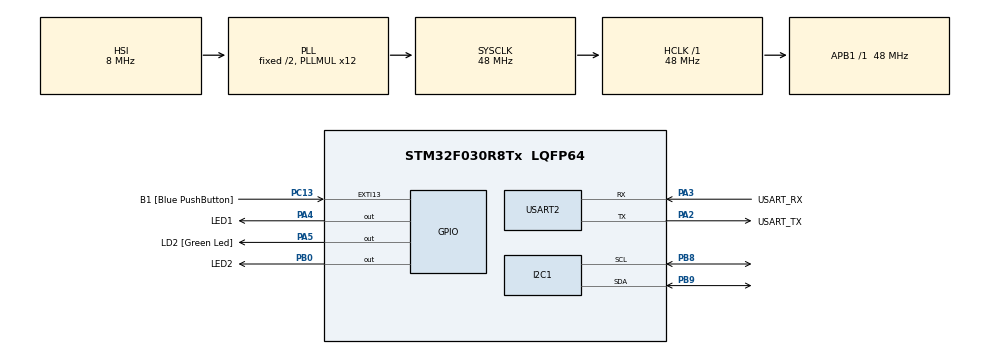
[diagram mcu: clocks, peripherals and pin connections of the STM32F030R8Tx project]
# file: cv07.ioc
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FREERTOS.Queues01=xVisualQueue,16,int16_t,0,Dynamic,NULL,NULL
FREERTOS.Tasks01=defaultTask,0,128,StartDefaultTask,Default,NULL,Dynamic,NULL,NULL;VisualTask,0,128,StartVisualTask,Default,NULL,Dynamic,NULL,NULL;AcceleroTask,0,128,StartAcceleroTask,Default,NULL,Dynamic,NULL,NULL
Mcu.Family=STM32F0
Mcu.Name=STM32F030R8Tx
Mcu.Package=LQFP64
NVIC.TIM1_BRK_UP_TRG_COM_IRQn=true\:0\:0\:false\:false\:true\:false\:false\:true
NVIC.TimeBase=TIM1_BRK_UP_TRG_COM_IRQn
NVIC.TimeBaseIP=TIM1
PA13.GPIO_Label=TMS
PA13.Mode=Serial_Wire
PA13.Signal=SYS_SWDIO
PA14.GPIO_Label=TCK
PA14.Mode=Serial_Wire
PA14.Signal=SYS_SWCLK
PA2.GPIO_Label=USART_TX
PA2.GPIO_Mode=GPIO_MODE_AF_PP
PA2.GPIO_PuPd=GPIO_NOPULL
PA2.GPIO_Speed=GPIO_SPEED_FREQ_LOW
PA2.Mode=Asynchronous
PA2.Signal=USART2_TX
PA3.GPIO_Label=USART_RX
PA3.GPIO_Mode=GPIO_MODE_AF_PP
PA3.GPIO_PuPd=GPIO_NOPULL
PA3.GPIO_Speed=GPIO_SPEED_FREQ_LOW
PA3.Mode=Asynchronous
PA3.Signal=USART2_RX
PA4.GPIO_Label=LED1
PA4.Signal=GPIO_Output
PA5.GPIO_Label=LD2 [Green Led]
PA5.GPIO_Mode=GPIO_MODE_OUTPUT_PP
PA5.GPIO_PuPd=GPIO_NOPULL
PA5.GPIO_Speed=GPIO_SPEED_FREQ_LOW
PA5.Signal=GPIO_Output
PB0.GPIO_Label=LED2
PB0.Signal=GPIO_Output
PB8.Mode=I2C
PB8.Signal=I2C1_SCL
PB9.Mode=I2C
PB9.Signal=I2C1_SDA
PC13.GPIO_Label=B1 [Blue PushButton]
PC13.GPIO_ModeDefaultEXTI=GPIO_MODE_IT_FALLING
PC13.Signal=GPXTI13
PC14-OSC32_IN.Mode=LSE-External-Oscillator
PC14-OSC32_IN.Signal=RCC_OSC32_IN
PC15-OSC32_OUT.Mode=LSE-External-Oscillator
PC15-OSC32_OUT.Signal=RCC_OSC32_OUT
PF0-OSC_IN.Mode=HSE-External-Clock-Source
PF0-OSC_IN.Signal=RCC_OSC_IN
PF1-OSC_OUT.Signal=RCC_OSC_OUT
ProjectManager.HeapSize=0x200
ProjectManager.StackSize=0x400
ProjectManager.TargetToolchain=STM32CubeIDE
RCC.AHBFreq_Value=48000000
RCC.APB1Freq_Value=48000000
RCC.APB1TimFreq_Value=48000000
RCC.HCLKFreq_Value=48000000
RCC.PLLMUL=RCC_PLL_MUL12
RCC.SYSCLKFreq_VALUE=48000000
RCC.SYSCLKSource=RCC_SYSCLKSOURCE_PLLCLK
USART2.VirtualMode-Asynchronous=VM_ASYNC
VP_FREERTOS_VS_CMSIS_V1.Mode=CMSIS_V1
VP_SYS_VS_tim1.Mode=TIM1
board=NUCLEO-F030R8

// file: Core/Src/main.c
/* USER CODE BEGIN Header */
/**
  ******************************************************************************
  * @file           : main.c
  * @brief          : Main program body
  ******************************************************************************
  * @attention
  *
  * <h2><center>&copy; Copyright (c) 2020 STMicroelectronics.
  * All rights reserved.</center></h2>
  *
  * This software component is licensed by ST under BSD 3-Clause license,
  * the "License"; You may not use this file except in compliance with the
  * License. You may obtain a copy of the License at:
  *                        opensource.org/licenses/BSD-3-Clause
  *
  ******************************************************************************
  */
/* USER CODE END Header */

#include "main.h"
#include "cmsis_os.h"

/* USER CODE BEGIN Includes */
#include "lis2dw12_reg.h"
#include <stdio.h>

/* USER CODE END Includes */

/* USER CODE BEGIN PTD */
typedef union{
	int16_t i16bit[3];
	uint8_t u8bit[6];
} axis3bit16_t;
/* USER CODE END PTD */

I2C_HandleTypeDef hi2c1;

UART_HandleTypeDef huart2;

osThreadId defaultTaskHandle;
osThreadId VisualTaskHandle;
osThreadId AcceleroTaskHandle;
osMessageQId xVisualQueueHandle;

void SystemClock_Config(void);
static void MX_GPIO_Init(void);
static void MX_USART2_UART_Init(void);
static void MX_I2C1_Init(void);
void StartDefaultTask(void const * argument);
void StartVisualTask(void const * argument);
void StartAcceleroTask(void const * argument);

/* USER CODE BEGIN PFP */
static int32_t platform_write(void *handle, uint8_t reg, uint8_t *bufp, uint16_t len);
static int32_t platform_read(void *handle, uint8_t reg, uint8_t *bufp, uint16_t len);
static stmdev_ctx_t lis2dw12 = {
    .write_reg = platform_write,
    .read_reg = platform_read,
    .handle = &hi2c1,
};

/* USER CODE END PFP */

/* USER CODE BEGIN 0 */

static int32_t platform_write(void *handle, uint8_t reg, uint8_t *bufp, uint16_t len)
{
    HAL_I2C_Mem_Write(handle, LIS2DW12_I2C_ADD_H, reg, I2C_MEMADD_SIZE_8BIT, bufp, len, 1000);
	return 0;
}

static int32_t platform_read(void *handle, uint8_t reg, uint8_t *bufp, uint16_t len)
{
	HAL_I2C_Mem_Read(handle, LIS2DW12_I2C_ADD_H, reg, I2C_MEMADD_SIZE_8BIT, bufp, len, 1000);
	return 0;
}

int _write(int file, char const *buf, int n)
{
     /* stdout redirection to UART2 */
     HAL_UART_Transmit(&huart2, (uint8_t*)(buf), n, HAL_MAX_DELAY);
     return n;
}
/* USER CODE END 0 */

int main(void)
{

  /* MCU Configuration--------------------------------------------------------*/

  /* Reset of all peripherals, Initializes the Flash interface and the Systick. */
  HAL_Init();

  /* Configure the system clock */
  SystemClock_Config();

  /* Initialize all configured peripherals */
  MX_GPIO_Init();
  MX_USART2_UART_Init();
  MX_I2C1_Init();
  /* USER CODE BEGIN 2 */

  printf("Hello\n");

  lis2dw12_full_scale_set(&lis2dw12, LIS2DW12_2g);
  lis2dw12_power_mode_set(&lis2dw12, LIS2DW12_CONT_LOW_PWR_LOW_NOISE_2);
  lis2dw12_block_data_update_set(&lis2dw12, PROPERTY_ENABLE);
  lis2dw12_fifo_mode_set(&lis2dw12, LIS2DW12_STREAM_MODE); // enable continuous FIFO
  lis2dw12_data_rate_set(&lis2dw12, LIS2DW12_XL_ODR_25Hz); // enable part from power-down
  /* USER CODE END 2 */

  /* Create the queue(s) */
  /* definition and creation of xVisualQueue */
  osMessageQDef(xVisualQueue, 16, int16_t);
  xVisualQueueHandle = osMessageCreate(osMessageQ(xVisualQueue), NULL);

  /* Create the thread(s) */
  /* definition and creation of defaultTask */
  osThreadDef(defaultTask, StartDefaultTask, osPriorityNormal, 0, 128);
  defaultTaskHandle = osThreadCreate(osThread(defaultTask), NULL);

  /* definition and creation of VisualTask */
  osThreadDef(VisualTask, StartVisualTask, osPriorityNormal, 0, 128);
  VisualTaskHandle = osThreadCreate(osThread(VisualTask), NULL);

  /* definition and creation of AcceleroTask */
  osThreadDef(AcceleroTask, StartAcceleroTask, osPriorityNormal, 0, 128);
  AcceleroTaskHandle = osThreadCreate(osThread(AcceleroTask), NULL);

  /* Start scheduler */
  osKernelStart();

  /* We should never get here as control is now taken by the scheduler */
  /* Infinite loop */
  while (1)
  {

  }
}

void SystemClock_Config(void)
{
  RCC_OscInitTypeDef RCC_OscInitStruct = {0};
  RCC_ClkInitTypeDef RCC_ClkInitStruct = {0};
  RCC_PeriphCLKInitTypeDef PeriphClkInit = {0};

  /** Initializes the CPU, AHB and APB busses clocks
  */
  RCC_OscInitStruct.OscillatorType = RCC_OSCILLATORTYPE_HSI;
  RCC_OscInitStruct.HSIState = RCC_HSI_ON;
  RCC_OscInitStruct.HSICalibrationValue = RCC_HSICALIBRATION_DEFAULT;
  RCC_OscInitStruct.PLL.PLLState = RCC_PLL_ON;
  RCC_OscInitStruct.PLL.PLLSource = RCC_PLLSOURCE_HSI;
  RCC_OscInitStruct.PLL.PLLMUL = RCC_PLL_MUL12;
  RCC_OscInitStruct.PLL.PREDIV = RCC_PREDIV_DIV1;
  if (HAL_RCC_OscConfig(&RCC_OscInitStruct) != HAL_OK)
  {
    Error_Handler();
  }
  /** Initializes the CPU, AHB and APB busses clocks
  */
  RCC_ClkInitStruct.ClockType = RCC_CLOCKTYPE_HCLK|RCC_CLOCKTYPE_SYSCLK
                              |RCC_CLOCKTYPE_PCLK1;
  RCC_ClkInitStruct.SYSCLKSource = RCC_SYSCLKSOURCE_PLLCLK;
  RCC_ClkInitStruct.AHBCLKDivider = RCC_SYSCLK_DIV1;
  RCC_ClkInitStruct.APB1CLKDivider = RCC_HCLK_DIV1;

  if (HAL_RCC_ClockConfig(&RCC_ClkInitStruct, FLASH_LATENCY_1) != HAL_OK)
  {
    Error_Handler();
  }
  PeriphClkInit.PeriphClockSelection = RCC_PERIPHCLK_I2C1;
  PeriphClkInit.I2c1ClockSelection = RCC_I2C1CLKSOURCE_HSI;
  if (HAL_RCCEx_PeriphCLKConfig(&PeriphClkInit) != HAL_OK)
  {
    Error_Handler();
  }
}

static void MX_I2C1_Init(void)
{

  hi2c1.Instance = I2C1;
  hi2c1.Init.Timing = 0x2000090E;
  hi2c1.Init.OwnAddress1 = 0;
  hi2c1.Init.AddressingMode = I2C_ADDRESSINGMODE_7BIT;
  hi2c1.Init.DualAddressMode = I2C_DUALADDRESS_DISABLE;
  hi2c1.Init.OwnAddress2 = 0;
  hi2c1.Init.OwnAddress2Masks = I2C_OA2_NOMASK;
  hi2c1.Init.GeneralCallMode = I2C_GENERALCALL_DISABLE;
  hi2c1.Init.NoStretchMode = I2C_NOSTRETCH_DISABLE;
  if (HAL_I2C_Init(&hi2c1) != HAL_OK)
  {
    Error_Handler();
  }
  /** Configure Analogue filter
  */
  if (HAL_I2CEx_ConfigAnalogFilter(&hi2c1, I2C_ANALOGFILTER_ENABLE) != HAL_OK)
  {
    Error_Handler();
  }
  /** Configure Digital filter
  */
  if (HAL_I2CEx_ConfigDigitalFilter(&hi2c1, 0) != HAL_OK)
  {
    Error_Handler();
  }

}

static void MX_USART2_UART_Init(void)
{

  huart2.Instance = USART2;
  huart2.Init.BaudRate = 38400;
  huart2.Init.WordLength = UART_WORDLENGTH_8B;
  huart2.Init.StopBits = UART_STOPBITS_1;
  huart2.Init.Parity = UART_PARITY_NONE;
  huart2.Init.Mode = UART_MODE_TX_RX;
  huart2.Init.HwFlowCtl = UART_HWCONTROL_NONE;
  huart2.Init.OverSampling = UART_OVERSAMPLING_16;
  huart2.Init.OneBitSampling = UART_ONE_BIT_SAMPLE_DISABLE;
  huart2.AdvancedInit.AdvFeatureInit = UART_ADVFEATURE_NO_INIT;
  if (HAL_UART_Init(&huart2) != HAL_OK)
  {
    Error_Handler();
  }

}

static void MX_GPIO_Init(void)
{
  GPIO_InitTypeDef GPIO_InitStruct = {0};

  /* GPIO Ports Clock Enable */
  __HAL_RCC_GPIOC_CLK_ENABLE();
  __HAL_RCC_GPIOF_CLK_ENABLE();
  __HAL_RCC_GPIOA_CLK_ENABLE();
  __HAL_RCC_GPIOB_CLK_ENABLE();

  /*Configure GPIO pin Output Level */
  HAL_GPIO_WritePin(GPIOA, LED1_Pin|LD2_Pin, GPIO_PIN_RESET);

  /*Configure GPIO pin Output Level */
  HAL_GPIO_WritePin(LED2_GPIO_Port, LED2_Pin, GPIO_PIN_RESET);

  /*Configure GPIO pin : B1_Pin */
  GPIO_InitStruct.Pin = B1_Pin;
  GPIO_InitStruct.Mode = GPIO_MODE_IT_FALLING;
  GPIO_InitStruct.Pull = GPIO_NOPULL;
  HAL_GPIO_Init(B1_GPIO_Port, &GPIO_InitStruct);

  /*Configure GPIO pins : LED1_Pin LD2_Pin */
  GPIO_InitStruct.Pin = LED1_Pin|LD2_Pin;
  GPIO_InitStruct.Mode = GPIO_MODE_OUTPUT_PP;
  GPIO_InitStruct.Pull = GPIO_NOPULL;
  GPIO_InitStruct.Speed = GPIO_SPEED_FREQ_LOW;
  HAL_GPIO_Init(GPIOA, &GPIO_InitStruct);

  /*Configure GPIO pin : LED2_Pin */
  GPIO_InitStruct.Pin = LED2_Pin;
  GPIO_InitStruct.Mode = GPIO_MODE_OUTPUT_PP;
  GPIO_InitStruct.Pull = GPIO_NOPULL;
  GPIO_InitStruct.Speed = GPIO_SPEED_FREQ_LOW;
  HAL_GPIO_Init(LED2_GPIO_Port, &GPIO_InitStruct);

}

void StartDefaultTask(void const * argument)
{
  for(;;)
  {
    osDelay(1);
  }
}

void StartVisualTask(void const * argument)
{
  /* USER CODE BEGIN StartVisualTask */
    int16_t msg;

  /* Infinite loop */
    for(;;)
    {
      osDelay(1);
      if (xQueueReceive(xVisualQueueHandle, &msg, portMAX_DELAY)) {

    	  //  uloha vizualizace, v nekonečné smycce jsou prijimana data z fronty xVisualQueue
    	  //  a na zaklade hodnoty (msg) se rozhoduje o rozsvicení LED1 a LED2. LED1 se rozsvti
    	  //  pri hodnote pod -200, LED2 pri hodnote nad +200:

    	  if (msg > 200) {
    		  HAL_GPIO_WritePin(LED1_GPIO_Port, LED1_Pin, GPIO_PIN_RESET);
    	      HAL_GPIO_WritePin(LED2_GPIO_Port, LED2_Pin, GPIO_PIN_SET);
      	  }

    	  else if (msg < -200) {
    		  HAL_GPIO_WritePin(LED1_GPIO_Port, LED1_Pin, GPIO_PIN_SET);
    		  HAL_GPIO_WritePin(LED2_GPIO_Port, LED2_Pin, GPIO_PIN_RESET);
    	  }
    	  else {
    		  HAL_GPIO_WritePin(LED1_GPIO_Port, LED1_Pin, GPIO_PIN_RESET);
    		  HAL_GPIO_WritePin(LED2_GPIO_Port, LED2_Pin, GPIO_PIN_RESET);
    	  }
      }
    }
  /* USER CODE END StartVisualTask */
}

void StartAcceleroTask(void const * argument)
{
  /* USER CODE BEGIN StartAcceleroTask */

  // Nejdříve je vhodné v rámci AcceleroTasku otestovat komunikaci s akcelerometrem
  // a její výsledek vypsat na sériový výstup:

  uint8_t whoamI = 0;
  lis2dw12_device_id_get(&lis2dw12, &whoamI);
  printf("LIS2DW12_ID %s\n", (whoamI == LIS2DW12_ID) ? "OK" : "FAIL");

  /* Infinite loop */
  for(;;)
  {
	  uint8_t samples;
	  axis3bit16_t data_raw_acceleration;
	  uint8_t count = 0;

	  lis2dw12_fifo_data_level_get(&lis2dw12, &samples);
	  for (uint8_t i = 0; i < samples; i++) {
	      // Read acceleration data
	      lis2dw12_acceleration_raw_get(&lis2dw12, data_raw_acceleration.u8bit);
	  }
	  xQueueSend(xVisualQueueHandle, &data_raw_acceleration.i16bit[0], 0); // send it to queue
	  osDelay(50);

	  /*
	    Vzorek z akcelerometru stačí pro výstup do terminálu aktualizovat po 1 sekundě, pro odeslání do fronty
	    xVisualQueue po cca 50ms. Vzhledem k preemptivnímu charakteru plánovače RTOS je využívá blokující čekání
	    realizované funkcí osDelay(). Nejjednodušším řešením je číst vždy všechny vzorky (celou FIFO) s požadovanou
	    periodou aktualizace, ale použít jen poslední z nich
	  */

	  if (count >= (1000/50)) { // print info every second
	      printf("X=%d Y=%d Z=%d\n", data_raw_acceleration.i16bit[0],
	    		                     data_raw_acceleration.i16bit[1],
	  	                             data_raw_acceleration.i16bit[2]);
	  	  count = 0; //print and reset counter
	  }
	  count++;

	  /* DEMO
	   * Demo úloha bude v nekonečné smyčce plnit frontu, tedy odesílat zprávy např.
	   * -500, 0, 500, 0, atd. Za odeslání do fronty se přidá krátké čekání
	   * */
	  /////////////////////
	  /*
	  int16_t msg;
	  int16_t msgValues[] = {-500, 0, 500, 0};
	  static uint8_t i = 0;

	  for(i=0; i<4; i++) {
		  msg = msgValues[i];
		  xQueueSend(xVisualQueueHandle, &msg, 0);
		  osDelay(300);

		  if (i >= 3) {
		      i = 0;
		  }
	  }
	  */
	  ////////////////////

  }
  /* USER CODE END StartAcceleroTask */
}

 /**
  * @brief  Period elapsed callback in non blocking mode
  * @note   This function is called  when TIM1 interrupt took place, inside
  * HAL_TIM_IRQHandler(). It makes a direct call to HAL_IncTick() to increment
  * a global variable "uwTick" used as application time base.
  * @param  htim : TIM handle
  * @retval None
  */
void HAL_TIM_PeriodElapsedCallback(TIM_HandleTypeDef *htim)
{
  if (htim->Instance == TIM1) {
    HAL_IncTick();
  }
}

void Error_Handler(void)
{
}

/************************ (C) COPYRIGHT STMicroelectronics *****END OF FILE****/
